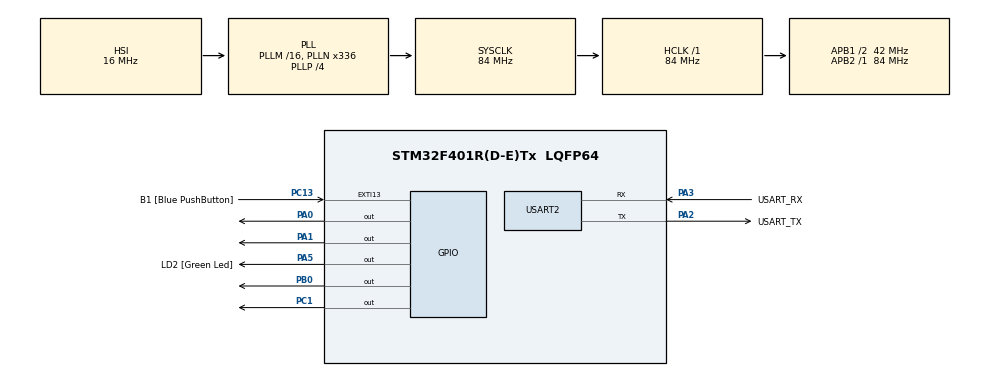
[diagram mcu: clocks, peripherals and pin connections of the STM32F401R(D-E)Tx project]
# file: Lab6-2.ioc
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FREERTOS.Mutexes01=myMutex01,Dynamic,NULL
FREERTOS.Queues01=myQueue01,16,uint16_t,0,Dynamic,NULL,NULL
FREERTOS.Tasks01=defaultTask,24,128,StartDefaultTask,Default,NULL,Dynamic,NULL,NULL;myTask02,24,128,StartTask02,Default,NULL,Dynamic,NULL,NULL;myTask03,8,128,StartTask03,Default,NULL,Dynamic,NULL,NULL
FREERTOS.Timers01=myTimer01,Callback01,osTimerPeriodic,Default,NULL,Dynamic,NULL;myTimer02,Callback02,osTimerPeriodic,Default,NULL,Dynamic,NULL;myTimer03,Callback03,osTimerPeriodic,Default,NULL,Dynamic,NULL;myTimer04,Callback04,osTimerPeriodic,Default,NULL,Dynamic,NULL
Mcu.Family=STM32F4
Mcu.Name=STM32F401R(D-E)Tx
Mcu.Package=LQFP64
NVIC.PriorityGroup=NVIC_PRIORITYGROUP_4
PA0-WKUP.Signal=GPIO_Output
PA1.Signal=GPIO_Output
PA13.GPIO_Label=TMS
PA13.Mode=Serial_Wire
PA13.Signal=SYS_JTMS-SWDIO
PA14.GPIO_Label=TCK
PA14.Mode=Serial_Wire
PA14.Signal=SYS_JTCK-SWCLK
PA2.GPIO_Label=USART_TX
PA2.GPIO_Mode=GPIO_MODE_AF_PP
PA2.GPIO_PuPd=GPIO_NOPULL
PA2.GPIO_Speed=GPIO_SPEED_FREQ_LOW
PA2.Mode=Asynchronous
PA2.Signal=USART2_TX
PA3.GPIO_Label=USART_RX
PA3.GPIO_Mode=GPIO_MODE_AF_PP
PA3.GPIO_PuPd=GPIO_NOPULL
PA3.GPIO_Speed=GPIO_SPEED_FREQ_LOW
PA3.Mode=Asynchronous
PA3.Signal=USART2_RX
PA5.GPIO_Label=LD2 [Green Led]
PA5.GPIO_Mode=GPIO_MODE_OUTPUT_PP
PA5.GPIO_PuPd=GPIO_NOPULL
PA5.GPIO_Speed=GPIO_SPEED_FREQ_LOW
PA5.Signal=GPIO_Output
PB0.Signal=GPIO_Output
PB3.GPIO_Label=SWO
PB3.Signal=SYS_JTDO-SWO
PC1.Signal=GPIO_Output
PC13-ANTI_TAMP.GPIO_Label=B1 [Blue PushButton]
PC13-ANTI_TAMP.GPIO_ModeDefaultEXTI=GPIO_MODE_IT_FALLING
PC13-ANTI_TAMP.GPIO_PuPd=GPIO_NOPULL
PC13-ANTI_TAMP.Signal=GPXTI13
PC14-OSC32_IN.Mode=LSE-External-Oscillator
PC14-OSC32_IN.Signal=RCC_OSC32_IN
PC15-OSC32_OUT.Mode=LSE-External-Oscillator
PC15-OSC32_OUT.Signal=RCC_OSC32_OUT
PH0\ -\ OSC_IN.Mode=HSE-External-Clock-Source
PH0\ -\ OSC_IN.Signal=RCC_OSC_IN
PH1\ -\ OSC_OUT.Mode=HSE-External-Clock-Source
PH1\ -\ OSC_OUT.Signal=RCC_OSC_OUT
ProjectManager.HeapSize=0x200
ProjectManager.StackSize=0x400
ProjectManager.TargetToolchain=STM32CubeIDE
RCC.48MHZClocksFreq_Value=48000000
RCC.AHBFreq_Value=84000000
RCC.APB1CLKDivider=RCC_HCLK_DIV2
RCC.APB1Freq_Value=42000000
RCC.APB1TimFreq_Value=84000000
RCC.APB2Freq_Value=84000000
RCC.APB2TimFreq_Value=84000000
RCC.CortexFreq_Value=84000000
RCC.HCLKFreq_Value=84000000
RCC.HSE_VALUE=8000000
RCC.HSI_VALUE=16000000
RCC.PLLN=336
RCC.PLLP=RCC_PLLP_DIV4
RCC.PLLQ=7
RCC.SYSCLKFreq_VALUE=84000000
RCC.SYSCLKSource=RCC_SYSCLKSOURCE_PLLCLK
RCC.VCOOutputFreq_Value=336000000
USART2.VirtualMode=VM_ASYNC
VP_FREERTOS_VS_CMSIS_V2.Mode=CMSIS_V2
board=NUCLEO-F401RE

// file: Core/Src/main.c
/* USER CODE BEGIN Header */
/**
  ******************************************************************************
  * @file           : main.c
  * @brief          : Main program body
  ******************************************************************************
  * @attention
  *
  * Copyright (c) 2024 STMicroelectronics.
  * All rights reserved.
  *
  * This software is licensed under terms that can be found in the LICENSE file
  * in the root directory of this software component.
  * If no LICENSE file comes with this software, it is provided AS-IS.
  *
  ******************************************************************************
  */
/* USER CODE END Header */
#include "main.h"
#include "cmsis_os.h"

UART_HandleTypeDef huart2;

/* Definitions for defaultTask */
osThreadId_t defaultTaskHandle;
const osThreadAttr_t defaultTask_attributes = {
  .name = "defaultTask",
  .stack_size = 128 * 4,
  .priority = (osPriority_t) osPriorityNormal,
};
/* Definitions for myTask02 */
osThreadId_t myTask02Handle;
const osThreadAttr_t myTask02_attributes = {
  .name = "myTask02",
  .stack_size = 128 * 4,
  .priority = (osPriority_t) osPriorityNormal,
};
/* Definitions for myTask03 */
osThreadId_t myTask03Handle;
const osThreadAttr_t myTask03_attributes = {
  .name = "myTask03",
  .stack_size = 128 * 4,
  .priority = (osPriority_t) osPriorityLow,
};
/* Definitions for myQueue01 */
osMessageQueueId_t myQueue01Handle;
const osMessageQueueAttr_t myQueue01_attributes = {
  .name = "myQueue01"
};
/* Definitions for myTimer01 */
osTimerId_t myTimer01Handle;
const osTimerAttr_t myTimer01_attributes = {
  .name = "myTimer01"
};
/* Definitions for myTimer02 */
osTimerId_t myTimer02Handle;
const osTimerAttr_t myTimer02_attributes = {
  .name = "myTimer02"
};
/* Definitions for myTimer03 */
osTimerId_t myTimer03Handle;
const osTimerAttr_t myTimer03_attributes = {
  .name = "myTimer03"
};
/* Definitions for myTimer04 */
osTimerId_t myTimer04Handle;
const osTimerAttr_t myTimer04_attributes = {
  .name = "myTimer04"
};
/* Definitions for myMutex01 */
osMutexId_t myMutex01Handle;
const osMutexAttr_t myMutex01_attributes = {
  .name = "myMutex01"
};

void SystemClock_Config(void);
static void MX_GPIO_Init(void);
static void MX_USART2_UART_Init(void);
void StartDefaultTask(void *argument);
void StartTask02(void *argument);
void StartTask03(void *argument);
void Callback01(void *argument);
void Callback02(void *argument);
void Callback03(void *argument);
void Callback04(void *argument);

int main(void)
{

  /* MCU Configuration--------------------------------------------------------*/

  /* Reset of all peripherals, Initializes the Flash interface and the Systick. */
  HAL_Init();

  /* Configure the system clock */
  SystemClock_Config();

  /* Initialize all configured peripherals */
  MX_GPIO_Init();
  MX_USART2_UART_Init();

  /* Init scheduler */
  osKernelInitialize();
  /* Create the mutex(es) */
  /* creation of myMutex01 */
  myMutex01Handle = osMutexNew(&myMutex01_attributes);

  /* Create the timer(s) */
  /* creation of myTimer01 */
  myTimer01Handle = osTimerNew(Callback01, osTimerPeriodic, NULL, &myTimer01_attributes);

  /* creation of myTimer02 */
  myTimer02Handle = osTimerNew(Callback02, osTimerPeriodic, NULL, &myTimer02_attributes);

  /* creation of myTimer03 */
  myTimer03Handle = osTimerNew(Callback03, osTimerPeriodic, NULL, &myTimer03_attributes);

  /* creation of myTimer04 */
  myTimer04Handle = osTimerNew(Callback04, osTimerPeriodic, NULL, &myTimer04_attributes);

  /* USER CODE BEGIN RTOS_TIMERS */
  // 6-2
  osTimerStart(myTimer01Handle, 50);
  osTimerStart(myTimer02Handle, 18);
  osTimerStart(myTimer03Handle, 128);
  osTimerStart(myTimer04Handle, 64);
  /* start timers, add new ones, ... */
  /* USER CODE END RTOS_TIMERS */

  /* Create the queue(s) */
  /* creation of myQueue01 */
  myQueue01Handle = osMessageQueueNew (16, 32, &myQueue01_attributes);

  /* Create the thread(s) */
  /* creation of defaultTask */
  defaultTaskHandle = osThreadNew(StartDefaultTask, NULL, &defaultTask_attributes);

  /* creation of myTask02 */
  myTask02Handle = osThreadNew(StartTask02, NULL, &myTask02_attributes);

  /* creation of myTask03 */
  myTask03Handle = osThreadNew(StartTask03, NULL, &myTask03_attributes);

  /* USER CODE BEGIN RTOS_THREADS */
  defaultTaskHandle = osThreadNew(StartDefaultTask, NULL, NULL);
  myTask02Handle = osThreadNew(StartTask02, NULL, NULL);
  /* add threads, ... */
  /* USER CODE END RTOS_THREADS */

  /* Start scheduler */
  osKernelStart();

  /* We should never get here as control is now taken by the scheduler */
  /* Infinite loop */
  while (1)
  {

  }
}

void SystemClock_Config(void)
{
  RCC_OscInitTypeDef RCC_OscInitStruct = {0};
  RCC_ClkInitTypeDef RCC_ClkInitStruct = {0};

  /** Configure the main internal regulator output voltage
  */
  __HAL_RCC_PWR_CLK_ENABLE();
  __HAL_PWR_VOLTAGESCALING_CONFIG(PWR_REGULATOR_VOLTAGE_SCALE2);

  /** Initializes the RCC Oscillators according to the specified parameters
  * in the RCC_OscInitTypeDef structure.
  */
  RCC_OscInitStruct.OscillatorType = RCC_OSCILLATORTYPE_HSI;
  RCC_OscInitStruct.HSIState = RCC_HSI_ON;
  RCC_OscInitStruct.HSICalibrationValue = RCC_HSICALIBRATION_DEFAULT;
  RCC_OscInitStruct.PLL.PLLState = RCC_PLL_ON;
  RCC_OscInitStruct.PLL.PLLSource = RCC_PLLSOURCE_HSI;
  RCC_OscInitStruct.PLL.PLLM = 16;
  RCC_OscInitStruct.PLL.PLLN = 336;
  RCC_OscInitStruct.PLL.PLLP = RCC_PLLP_DIV4;
  RCC_OscInitStruct.PLL.PLLQ = 7;
  if (HAL_RCC_OscConfig(&RCC_OscInitStruct) != HAL_OK)
  {
    Error_Handler();
  }

  /** Initializes the CPU, AHB and APB buses clocks
  */
  RCC_ClkInitStruct.ClockType = RCC_CLOCKTYPE_HCLK|RCC_CLOCKTYPE_SYSCLK
                              |RCC_CLOCKTYPE_PCLK1|RCC_CLOCKTYPE_PCLK2;
  RCC_ClkInitStruct.SYSCLKSource = RCC_SYSCLKSOURCE_PLLCLK;
  RCC_ClkInitStruct.AHBCLKDivider = RCC_SYSCLK_DIV1;
  RCC_ClkInitStruct.APB1CLKDivider = RCC_HCLK_DIV2;
  RCC_ClkInitStruct.APB2CLKDivider = RCC_HCLK_DIV1;

  if (HAL_RCC_ClockConfig(&RCC_ClkInitStruct, FLASH_LATENCY_2) != HAL_OK)
  {
    Error_Handler();
  }
}

static void MX_USART2_UART_Init(void)
{

  huart2.Instance = USART2;
  huart2.Init.BaudRate = 115200;
  huart2.Init.WordLength = UART_WORDLENGTH_8B;
  huart2.Init.StopBits = UART_STOPBITS_1;
  huart2.Init.Parity = UART_PARITY_NONE;
  huart2.Init.Mode = UART_MODE_TX_RX;
  huart2.Init.HwFlowCtl = UART_HWCONTROL_NONE;
  huart2.Init.OverSampling = UART_OVERSAMPLING_16;
  if (HAL_UART_Init(&huart2) != HAL_OK)
  {
    Error_Handler();
  }

}

static void MX_GPIO_Init(void)
{
  GPIO_InitTypeDef GPIO_InitStruct = {0};

  /* GPIO Ports Clock Enable */
  __HAL_RCC_GPIOC_CLK_ENABLE();
  __HAL_RCC_GPIOH_CLK_ENABLE();
  __HAL_RCC_GPIOA_CLK_ENABLE();
  __HAL_RCC_GPIOB_CLK_ENABLE();

  /*Configure GPIO pin Output Level */
  HAL_GPIO_WritePin(GPIOC, GPIO_PIN_1, GPIO_PIN_RESET);

  /*Configure GPIO pin Output Level */
  HAL_GPIO_WritePin(GPIOA, GPIO_PIN_0|GPIO_PIN_1|LD2_Pin, GPIO_PIN_RESET);

  /*Configure GPIO pin Output Level */
  HAL_GPIO_WritePin(GPIOB, GPIO_PIN_0, GPIO_PIN_RESET);

  /*Configure GPIO pin : B1_Pin */
  GPIO_InitStruct.Pin = B1_Pin;
  GPIO_InitStruct.Mode = GPIO_MODE_IT_FALLING;
  GPIO_InitStruct.Pull = GPIO_NOPULL;
  HAL_GPIO_Init(B1_GPIO_Port, &GPIO_InitStruct);

  /*Configure GPIO pin : PC1 */
  GPIO_InitStruct.Pin = GPIO_PIN_1;
  GPIO_InitStruct.Mode = GPIO_MODE_OUTPUT_PP;
  GPIO_InitStruct.Pull = GPIO_NOPULL;
  GPIO_InitStruct.Speed = GPIO_SPEED_FREQ_LOW;
  HAL_GPIO_Init(GPIOC, &GPIO_InitStruct);

  /*Configure GPIO pins : PA0 PA1 LD2_Pin */
  GPIO_InitStruct.Pin = GPIO_PIN_0|GPIO_PIN_1|LD2_Pin;
  GPIO_InitStruct.Mode = GPIO_MODE_OUTPUT_PP;
  GPIO_InitStruct.Pull = GPIO_NOPULL;
  GPIO_InitStruct.Speed = GPIO_SPEED_FREQ_LOW;
  HAL_GPIO_Init(GPIOA, &GPIO_InitStruct);

  /*Configure GPIO pin : PB0 */
  GPIO_InitStruct.Pin = GPIO_PIN_0;
  GPIO_InitStruct.Mode = GPIO_MODE_OUTPUT_PP;
  GPIO_InitStruct.Pull = GPIO_NOPULL;
  GPIO_InitStruct.Speed = GPIO_SPEED_FREQ_LOW;
  HAL_GPIO_Init(GPIOB, &GPIO_InitStruct);

}

void StartDefaultTask(void *argument)
{
  /* USER CODE BEGIN 5 */
  /* Infinite loop */
	  if (1) {
		int threadID = 0; // threadID is 0 for one thread and 1 for another
		int idx = 0;
		char buffer[32];
		while(1) {
		osMutexAcquire(myMutex01Handle, osWaitForever);  // lock count is incremented, might fail when lock count is depleted
		sprintf(buffer, "TID: %d %d\r\n", threadID, idx);
		idx ++;
//		HAL_UART_Transmit(&huart2, buffer, strlen(buffer), 1000);
	    osMutexRelease(myMutex01Handle); // lock count is decremented, actually releases the mutex on lock count zero
	    osDelay(100);
	    osMessageQueuePut(myQueue01Handle, buffer, 0, 0);
		}
	  }
  /* USER CODE END 5 */
}

void StartTask02(void *argument)
{
  /* USER CODE BEGIN StartTask02 */

	if (1) {
			int threadID = 1; // threadID is 0 for one thread and 1 for another
			int idx = 0;
			char buffer[32];
			while(1) {
			osMutexAcquire(myMutex01Handle, osWaitForever);  // lock count is incremented, might fail when lock count is depleted
			sprintf(buffer, "TID: %d %d\r\n", threadID, idx);
			idx ++;
//			HAL_UART_Transmit(&huart2, buffer, strlen(buffer), 1000);
		    osMutexRelease(myMutex01Handle); // lock count is decremented, actually releases the mutex on lock count zero
		    osDelay(100);
		    osMessageQueuePut(myQueue01Handle, buffer, 0, 0);
			}
	}

  /* USER CODE END StartTask02 */
}

void StartTask03(void *argument)
{
  /* USER CODE BEGIN StartTask03 */
  /* Infinite loop */
	while(1){
			char buffer[32];
			osStatus_t status = osMessageQueueGet(myQueue01Handle, buffer, NULL, 0);
			if(status == osOK){
				HAL_UART_Transmit(&huart2, buffer, strlen(buffer), 1000);
			}
		}
  /* USER CODE END StartTask03 */
}

/* Callback01 function */
void Callback01(void *argument)
{
  /* USER CODE BEGIN Callback01 */
	HAL_GPIO_TogglePin(GPIOA, GPIO_PIN_0);
  /* USER CODE END Callback01 */
}

/* Callback02 function */
void Callback02(void *argument)
{
  /* USER CODE BEGIN Callback02 */
	HAL_GPIO_TogglePin(GPIOA, GPIO_PIN_1);
  /* USER CODE END Callback02 */
}

/* Callback03 function */
void Callback03(void *argument)
{
  /* USER CODE BEGIN Callback03 */
	HAL_GPIO_TogglePin(GPIOB, GPIO_PIN_0);
  /* USER CODE END Callback03 */
}

/* Callback04 function */
void Callback04(void *argument)
{
  /* USER CODE BEGIN Callback04 */
	HAL_GPIO_TogglePin(GPIOC, GPIO_PIN_1);
  /* USER CODE END Callback04 */
}

void Error_Handler(void)
{
  __disable_irq();
  while (1)
  {
  }
}
